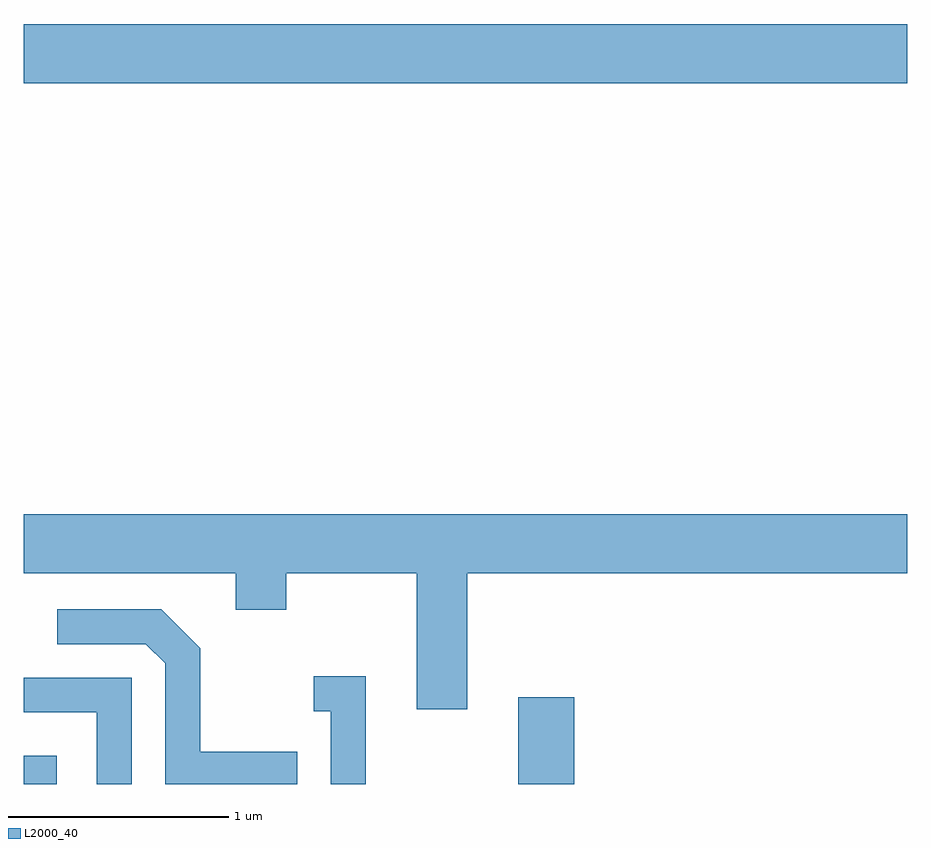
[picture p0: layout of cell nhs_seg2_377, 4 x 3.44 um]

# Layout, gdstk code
import gdstk
lib = gdstk.Library(unit=1e-6, precision=1e-09)
def R(c, l, rs):  # rectangles x0, y0, x1, y1
    for r in rs: c.add(gdstk.rectangle(r[:2], r[2:], *l))
def P(c, l, *ps):  # polygons
    for p in ps: c.add(gdstk.Polygon(p, *l))
L2000_40 = (2000, 40)

nhs_seg2_377 = lib.new_cell('nhs_seg2_377')
R(nhs_seg2_377, L2000_40, [(195.611,1051.802,195.759,1051.929), (197.851,1051.802,198.104,1052.194), (195.611,1054.976,199.611,1055.244)])
P(nhs_seg2_377, L2000_40, [(197.619,1052.756),(199.611,1052.756),(199.611,1053.024),(195.611,1053.024),(195.611,1052.756),(196.571,1052.756),(196.571,1052.591),(196.799,1052.591),(196.799,1052.756),(197.391,1052.756),(197.391,1052.141),(197.619,1052.141)],
  [(196.849,1051.949),(196.409,1051.949),(196.409,1052.417),(196.232,1052.594),(195.763,1052.594),(195.763,1052.436),(196.164,1052.436),(196.251,1052.349),(196.251,1051.802),(196.849,1051.802)],
  [(197.159,1052.289),(196.923,1052.289),(196.923,1052.131),(197.001,1052.131),(197.001,1051.802),(197.159,1051.802)],
  [(196.099,1052.284),(195.611,1052.284),(195.611,1052.126),(195.941,1052.126),(195.941,1051.802),(196.099,1051.802)])

lib.write_gds('nhs_seg2_377.gds')
